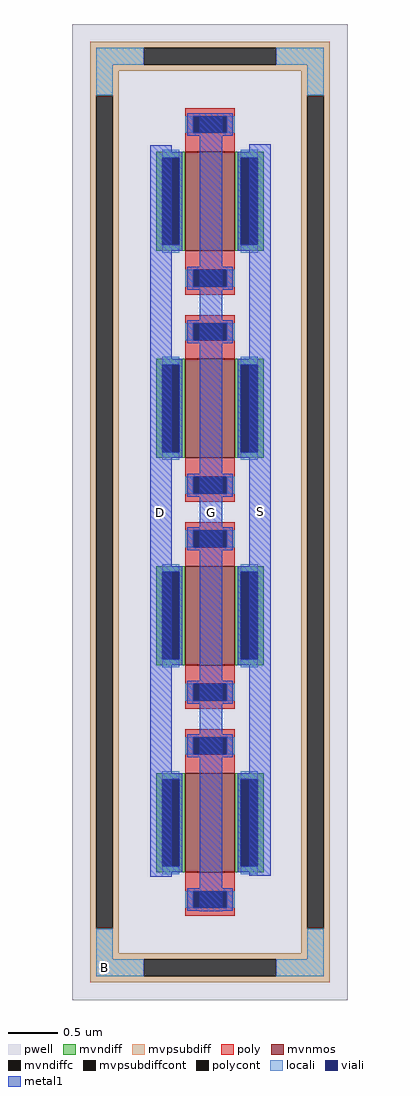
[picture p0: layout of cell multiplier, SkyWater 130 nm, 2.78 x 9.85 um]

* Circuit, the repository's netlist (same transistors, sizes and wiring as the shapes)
** sch_path: /foss/designs/sky130_hcmus_ip__instramp/xschem/multiplier.sch
.subckt multiplier G D S B
*.PININFO G:B D:B S:B B:B
XM1 D G S B sky130_fd_pr__nfet_g5v0d10v5 L=0.5 W=1 nf=1 m=4
.ends
.end

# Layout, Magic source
magic
tech sky130A
magscale 1 2
<< locali >>
rect -17 583 17 617
<< metal1 >>
rect 92 784 136 2260
rect 192 714 238 2318
rect 292 786 336 2262
use sky130_fd_pr__nfet_g5v0d10v5_RVEQ2N  XM1
transform 1 0 213 0 1 1520
box -278 -985 278 985
<< labels >>
rlabel metal1 98 1502 130 1536 0 D
port 1 nsew
rlabel metal1 200 1502 232 1536 0 G
port 2 nsew
rlabel metal1 298 1504 330 1538 0 S
port 3 nsew
rlabel locali -17 583 17 617 0 B
port 4 nsew
<< end >>

# cell sky130_fd_pr__nfet_g5v0d10v5_RVEQ2N: kit device sky130_fd_pr__nfet_g5v0d10v5, w 1.0 l 0.5 m 4 nf 1 diffcov 100 polycov 100 guard 1 glc 1 grc 1 gtc 1 gbc 1 tbcov 100 rlcov 100 topc 1 botc 1 poverlap 0 doverlap 1 lmin 0.50 wmin 0.42 compatible {sky130_fd_pr__nfet_01v8 sky130_fd_pr__nfet_01v8_lvt sky130_fd_bs_flash__special_sonosfet_star sky130_fd_pr__nfet_g5v0d10v5 sky130_fd_pr__nfet_05v0_nvt sky130_fd_pr__nfet_03v3_nvt} full_metal 1 viasrc 100 viadrn 100 viagate 100 viagb 0 viagr 0 viagl 0 viagt 0
